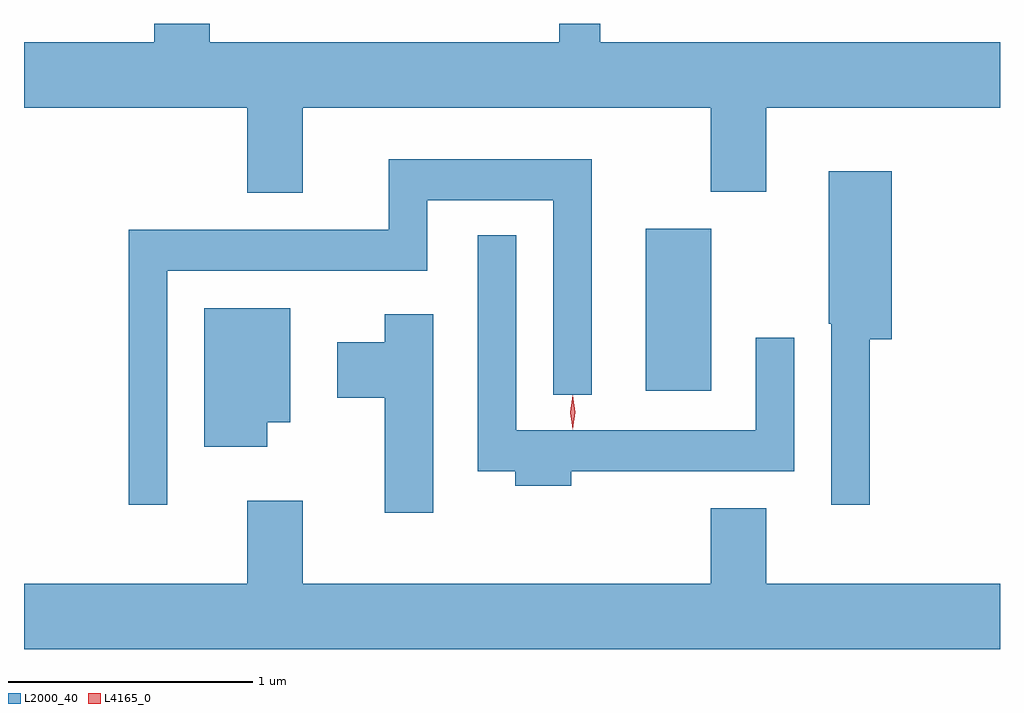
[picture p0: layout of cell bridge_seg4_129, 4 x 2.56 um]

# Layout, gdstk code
import gdstk
lib = gdstk.Library(unit=1e-6, precision=1e-09)
def R(c, l, rs):  # rectangles x0, y0, x1, y1
    for r in rs: c.add(gdstk.rectangle(r[:2], r[2:], *l))
def P(c, l, *ps):  # polygons
    for p in ps: c.add(gdstk.Polygon(p, *l))
L2000_40 = (2000, 40)
L4165_0 = (4165, 0)

bridge_seg4_129 = lib.new_cell('bridge_seg4_129')
R(bridge_seg4_129, L2000_40, [(911.596,1300.236,911.864,1300.899)])
P(bridge_seg4_129, L2000_40, [(910.189,1301.396),(911.861,1301.396),(911.861,1301.051),(912.089,1301.051),(912.089,1301.396),(913.047,1301.396),(913.047,1301.664),(911.409,1301.664),(911.409,1301.739),(911.241,1301.739),(911.241,1301.664),(909.809,1301.664),(909.809,1301.739),(909.581,1301.739),(909.581,1301.664),(909.047,1301.664),(909.047,1301.396),(909.961,1301.396),(909.961,1301.046),(910.189,1301.046)],
  [(909.634,1300.726),(910.699,1300.726),(910.699,1301.016),(911.216,1301.016),(911.216,1300.218),(911.374,1300.218),(911.374,1301.184),(910.541,1301.184),(910.541,1300.894),(909.476,1300.894),(909.476,1299.768),(909.634,1299.768)],
  [(912.514,1300.446),(912.604,1300.446),(912.604,1301.134),(912.346,1301.134),(912.346,1300.51),(912.356,1300.51),(912.356,1299.768),(912.514,1299.768)],
  [(911.289,1299.906),(912.204,1299.906),(912.204,1300.453),(912.046,1300.453),(912.046,1300.074),(911.064,1300.074),(911.064,1300.873),(910.906,1300.873),(910.906,1299.906),(911.061,1299.906),(911.061,1299.846),(911.289,1299.846)],
  [(910.044,1300.106),(910.139,1300.106),(910.139,1300.574),(909.786,1300.574),(909.786,1300.006),(910.044,1300.006)],
  [(910.724,1300.549),(910.526,1300.549),(910.526,1300.434),(910.331,1300.434),(910.331,1300.206),(910.526,1300.206),(910.526,1299.736),(910.724,1299.736)],
  [(913.047,1299.444),(912.089,1299.444),(912.089,1299.754),(911.861,1299.754),(911.861,1299.444),(910.189,1299.444),(910.189,1299.784),(909.961,1299.784),(909.961,1299.444),(909.047,1299.444),(909.047,1299.176),(913.047,1299.176)])
P(bridge_seg4_129, L4165_0, [(911.295,1300.079),(911.295,1300.08),(911.285,1300.146),(911.295,1300.212),(911.295,1300.213),(911.296,1300.212),(911.305,1300.146),(911.296,1300.08)],
  [(911.296,1300.077),(911.295,1300.078),(911.286,1300.147),(911.295,1300.216),(911.296,1300.216),(911.296,1300.216),(911.306,1300.147),(911.296,1300.078)])

lib.write_gds('bridge_seg4_129.gds')
